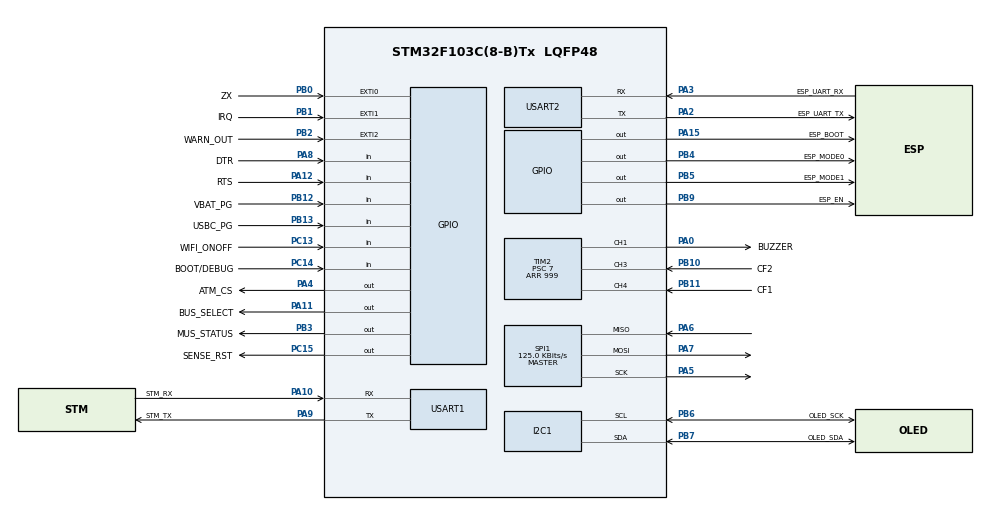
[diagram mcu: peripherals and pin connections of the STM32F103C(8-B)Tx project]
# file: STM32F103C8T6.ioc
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Mcu.Family=STM32F1
Mcu.Name=STM32F103C(8-B)Tx
Mcu.Package=LQFP48
NVIC.EXTI0_IRQn=true\:5\:0\:true\:false\:true\:true\:true\:true
NVIC.EXTI1_IRQn=true\:5\:0\:true\:false\:true\:true\:true\:true
NVIC.EXTI2_IRQn=true\:5\:0\:true\:false\:true\:true\:true\:true
NVIC.PriorityGroup=NVIC_PRIORITYGROUP_4
PA0-WKUP.GPIO_Label=BUZZER
PA0-WKUP.Signal=S_TIM2_CH1_ETR
PA10.GPIO_Label=STM_RX
PA10.GPIO_PuPd=GPIO_PULLUP
PA10.Mode=Asynchronous
PA10.Signal=USART1_RX
PA11.GPIO_Label=BUS_SELECT
PA11.Signal=GPIO_Output
PA12.GPIO_Label=RTS
PA12.GPIO_PuPd=GPIO_PULLUP
PA12.Signal=GPIO_Input
PA13.GPIO_Label=SWD_IO
PA13.Mode=Serial_Wire
PA13.Signal=SYS_JTMS-SWDIO
PA14.GPIO_Label=SWD_CLK
PA14.Mode=Serial_Wire
PA14.Signal=SYS_JTCK-SWCLK
PA15.GPIO_Label=ESP_BOOT
PA15.PinState=GPIO_PIN_SET
PA15.Signal=GPIO_Output
PA2.GPIO_Label=ESP_UART_TX
PA2.Mode=Asynchronous
PA2.Signal=USART2_TX
PA3.GPIO_Label=ESP_UART_RX
PA3.GPIO_PuPd=GPIO_PULLUP
PA3.Mode=Asynchronous
PA3.Signal=USART2_RX
PA4.GPIO_Label=ATM_CS
PA4.PinState=GPIO_PIN_SET
PA4.Signal=GPIO_Output
PA5.Mode=Full_Duplex_Master
PA5.Signal=SPI1_SCK
PA6.Mode=Full_Duplex_Master
PA6.Signal=SPI1_MISO
PA7.Mode=Full_Duplex_Master
PA7.Signal=SPI1_MOSI
PA8.GPIO_Label=DTR
PA8.GPIO_PuPd=GPIO_PULLUP
PA8.Signal=GPIO_Input
PA9.GPIO_Label=STM_TX
PA9.Mode=Asynchronous
PA9.Signal=USART1_TX
PB0.GPIO_Label=ZX
PB0.GPIO_PuPd=GPIO_PULLUP
PB0.Signal=GPXTI0
PB1.GPIO_Label=IRQ
PB1.GPIO_PuPd=GPIO_PULLUP
PB1.Signal=GPXTI1
PB10.GPIO_Label=CF2
PB10.Signal=S_TIM2_CH3
PB11.GPIO_Label=CF1
PB11.Signal=S_TIM2_CH4
PB12.GPIO_Label=VBAT_PG
PB12.GPIO_PuPd=GPIO_PULLUP
PB12.Signal=GPIO_Input
PB13.GPIO_Label=USBC_PG
PB13.GPIO_PuPd=GPIO_PULLUP
PB13.Signal=GPIO_Input
PB2.GPIO_Label=WARN_OUT
PB2.GPIO_PuPd=GPIO_PULLUP
PB2.Signal=GPXTI2
PB3.GPIO_Label=MUS_STATUS
PB3.Signal=GPIO_Output
PB4.GPIO_Label=ESP_MODE0
PB4.Signal=GPIO_Output
PB5.GPIO_Label=ESP_MODE1
PB5.Signal=GPIO_Output
PB6.GPIO_Label=OLED_SCK
PB6.Mode=I2C
PB6.Signal=I2C1_SCL
PB7.GPIO_Label=OLED_SDA
PB7.Mode=I2C
PB7.Signal=I2C1_SDA
PB9.GPIO_Label=ESP_EN
PB9.Signal=GPIO_Output
PC13-TAMPER-RTC.GPIO_Label=WIFI_ONOFF
PC13-TAMPER-RTC.GPIO_PuPd=GPIO_PULLUP
PC13-TAMPER-RTC.Signal=GPIO_Input
PC14-OSC32_IN.GPIO_Label=BOOT/DEBUG
PC14-OSC32_IN.GPIO_PuPd=GPIO_PULLUP
PC14-OSC32_IN.Signal=GPIO_Input
PC15-OSC32_OUT.GPIO_Label=SENSE_RST
PC15-OSC32_OUT.PinState=GPIO_PIN_SET
PC15-OSC32_OUT.Signal=GPIO_Output
PD0-OSC_IN.GPIO_Label=OSC_IN
PD0-OSC_IN.Signal=RCC_OSC_IN
PD1-OSC_OUT.GPIO_Label=OSC_OUT
PD1-OSC_OUT.Signal=RCC_OSC_OUT
ProjectManager.HeapSize=0x200
ProjectManager.StackSize=0x400
ProjectManager.TargetToolchain=STM32CubeIDE
RCC.APB1Freq_Value=8000000
RCC.APB2Freq_Value=8000000
SH.S_TIM2_CH1_ETR.0=TIM2_CH1,PWM Generation1 CH1
SH.S_TIM2_CH3.0=TIM2_CH3,Input_Capture3_from_TI3
SH.S_TIM2_CH4.0=TIM2_CH4,Input_Capture4_from_TI4
SPI1.BaudRatePrescaler=SPI_BAUDRATEPRESCALER_64
SPI1.CLKPhase=SPI_PHASE_2EDGE
SPI1.CLKPolarity=SPI_POLARITY_HIGH
SPI1.CalculateBaudRate=125.0 KBits/s
SPI1.Direction=SPI_DIRECTION_2LINES
SPI1.Mode=SPI_MODE_MASTER
SPI1.VirtualType=VM_MASTER
TIM2.Channel-Input_Capture3_from_TI3=TIM_CHANNEL_3
TIM2.Channel-Input_Capture4_from_TI4=TIM_CHANNEL_4
TIM2.Channel-PWM\ Generation1\ CH1=TIM_CHANNEL_1
TIM2.Period=999
TIM2.Prescaler=7
TIM2.Pulse-PWM\ Generation1\ CH1=500
USART1.VirtualMode=VM_ASYNC
USART2.VirtualMode=VM_ASYNC
VP_TIM2_VS_ClockSourceINT.Mode=Internal
board=custom

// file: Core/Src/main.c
/* USER CODE BEGIN Header */
/**
  ******************************************************************************
  * @file           : main.c
  * @brief          : Main program body
  ******************************************************************************
  * @attention
  *
  * Copyright (c) 2026 STMicroelectronics.
  * All rights reserved.
  *
  * This software is licensed under terms that can be found in the LICENSE file
  * in the root directory of this software component.
  * If no LICENSE file comes with this software, it is provided AS-IS.
  *
  ******************************************************************************
  */
/* USER CODE END Header */
#include "main.h"
#include "i2c.h"
#include "spi.h"
#include "tim.h"
#include "usart.h"
#include "gpio.h"

/* USER CODE BEGIN Includes */
#include "atm90e26.h"
#include "board_control.h"
#include "debug_console.h"
#include "delay_us.h"
#include "display.h"
#include "esp_control.h"
#include "uart_protocol.h"
#include <stdio.h>

/* USER CODE END Includes */

/* USER CODE BEGIN PD */

#define MEASUREMENT_PERIOD_MS 1000U

/* USER CODE END PD */

/* USER CODE BEGIN PV */
static ATM90E26_Dev atm_dev;
static ATM90E26_Meas meas;
static uint32_t lastMeasTick = 0U;
static uint8_t senseResetPulsed = 0U;
static volatile uint32_t zxEdgeCount = 0U;
static volatile uint32_t irqEdgeCount = 0U;
static volatile uint32_t warnEdgeCount = 0U;
static volatile uint32_t cf1PulseCount = 0U;
static volatile uint32_t cf2PulseCount = 0U;
static volatile uint8_t alertPulsePending = 0U;
static uint32_t prevZxEdgeCount = 0U;
static uint32_t prevIrqEdgeCount = 0U;
static uint32_t prevWarnEdgeCount = 0U;
static uint32_t prevCf1PulseCount = 0U;
static uint32_t prevCf2PulseCount = 0U;
static uint32_t buzzerOffTick = 0U;

/* USER CODE END PV */

void SystemClock_Config(void);

/* USER CODE BEGIN 0 */

static void ATM90E26_PrepareHardware(void)
{
  BoardControl_ApplyBringupDefaults();
  BoardControl_ResetSensing();
  senseResetPulsed = 1U;
  HAL_Delay(20U);
}

static void ShowAtmError(const char *title, const char *phase, ATM90E26_Status status)
{
  char err[22];

  snprintf(err, sizeof(err), "ERR:%d SYS:%04X", status, atm_dev.lastSysStatus);
  Display_Error(title, err);
  DebugConsole_LogAtmError(phase, status, atm_dev.lastSysStatus);
}

static HAL_StatusTypeDef AdvancedIo_Init(void)
{
  __HAL_TIM_SET_COMPARE(&htim2, TIM_CHANNEL_1, 0U);

  HAL_NVIC_SetPriority(TIM2_IRQn, 5U, 0U);
  HAL_NVIC_EnableIRQ(TIM2_IRQn);

  if (HAL_TIM_PWM_Start(&htim2, TIM_CHANNEL_1) != HAL_OK)
    return HAL_ERROR;
  if (HAL_TIM_IC_Start_IT(&htim2, TIM_CHANNEL_3) != HAL_OK)
    return HAL_ERROR;
  if (HAL_TIM_IC_Start_IT(&htim2, TIM_CHANNEL_4) != HAL_OK)
    return HAL_ERROR;

  return HAL_OK;
}

static void Buzzer_StartPulse(uint32_t now, uint32_t durationMs)
{
  __HAL_TIM_SET_COMPARE(&htim2, TIM_CHANNEL_1, 500U);
  buzzerOffTick = now + durationMs;
}

static void AdvancedIo_Task(uint32_t now)
{
  if (alertPulsePending != 0U)
  {
    alertPulsePending = 0U;
    Buzzer_StartPulse(now, 120U);
  }

  if ((buzzerOffTick != 0U) && ((int32_t)(now - buzzerOffTick) >= 0))
  {
    __HAL_TIM_SET_COMPARE(&htim2, TIM_CHANNEL_1, 0U);
    buzzerOffTick = 0U;
  }
}

static void AdvancedIo_Log(uint32_t uptimeSec)
{
  uint32_t zx = zxEdgeCount;
  uint32_t irq = irqEdgeCount;
  uint32_t warn = warnEdgeCount;
  uint32_t cf1 = cf1PulseCount;
  uint32_t cf2 = cf2PulseCount;

  DebugConsole_LogAdvancedIo(uptimeSec,
                             zx,
                             irq,
                             warn,
                             cf1,
                             cf2,
                             zx - prevZxEdgeCount,
                             irq - prevIrqEdgeCount,
                             warn - prevWarnEdgeCount,
                             cf1 - prevCf1PulseCount,
                             cf2 - prevCf2PulseCount);

  prevZxEdgeCount = zx;
  prevIrqEdgeCount = irq;
  prevWarnEdgeCount = warn;
  prevCf1PulseCount = cf1;
  prevCf2PulseCount = cf2;
}

/* USER CODE END 0 */

int main(void)
{

  /* MCU Configuration--------------------------------------------------------*/

  /* Reset of all peripherals, Initializes the Flash interface and the Systick. */
  HAL_Init();

  /* Configure the system clock */
  SystemClock_Config();

  /* Initialize all configured peripherals */
  MX_GPIO_Init();
  MX_I2C1_Init();
  MX_SPI1_Init();
  MX_USART1_UART_Init();
  MX_USART2_UART_Init();
  MX_TIM2_Init();
  /* USER CODE BEGIN 2 */
  ATM90E26_Status st = ATM_ERR_COMM_VERIFY;
  BoardControlSnapshot boardSnapshot;
  EspControlSnapshot espSnapshot;
  char calLog[64];

  DWT_Init();
  ATM90E26_PrepareHardware();

  DebugConsole_Init(&huart1);
  DebugConsole_Log("BOOT,stm32-new iter5-advanced-io\r\n");
  boardSnapshot = BoardControl_GetSnapshot();
  DebugConsole_LogBoardState(&boardSnapshot, senseResetPulsed);
  espSnapshot = EspControl_GetSnapshot();
  DebugConsole_LogEspState(&espSnapshot);

  if (Display_Init(&hi2c1) == HAL_OK)
  {
    DebugConsole_Log("OLED,init,ok\r\n");
    Display_Splash();
  }
  else
  {
    DebugConsole_Log("OLED,init,err=i2c_no_ack\r\n");
  }

  if (AdvancedIo_Init() == HAL_OK)
  {
    DebugConsole_Log("IO,init,ok\r\n");
  }
  else
  {
    DebugConsole_Log("IO,init,err=tim2_start\r\n");
  }

  atm_dev.hspi = &hspi1;
  atm_dev.csPort = ATM_CS_GPIO_Port;
  atm_dev.csPin = ATM_CS_Pin;
  atm_dev.cal = ATM90E26_DefaultCal();
  atm_dev.totalImportEnergy = 0U;
  atm_dev.totalExportEnergy = 0U;
  atm_dev.lastSysStatus = 0U;
  atm_dev.initialized = 0U;
  snprintf(calLog, sizeof(calLog), "CAL,ugain=0x%04X,igainL=0x%04X\r\n",
           atm_dev.cal.ugain,
           atm_dev.cal.igainL);
  DebugConsole_Log(calLog);

  for (int retry = 0; retry < 3; retry++)
  {
    DebugConsole_Log("ATM,init,try\r\n");
    st = ATM90E26_Init(&atm_dev);
    if (st == ATM_OK)
      break;
    HAL_Delay(500U);
  }
  UART_Proto_Init(&huart2);
  lastMeasTick = HAL_GetTick();

  if (st != ATM_OK)
  {
    ShowAtmError("ATM90E26 INIT FAIL", "init", st);
  }
  else
  {
    DebugConsole_LogAtmStatus("init_ok", st, atm_dev.lastSysStatus);
  }

  /* USER CODE END 2 */

  /* Infinite loop */
  while (1)
  {

    /* USER CODE BEGIN 3 */
    uint32_t now = HAL_GetTick();

    EspControl_Task();
    AdvancedIo_Task(now);

    if ((now - lastMeasTick) >= MEASUREMENT_PERIOD_MS)
    {
      lastMeasTick += MEASUREMENT_PERIOD_MS;
      espSnapshot = EspControl_GetSnapshot();
      DebugConsole_LogEspState(&espSnapshot);
      AdvancedIo_Log(now / 1000U);

      if (atm_dev.initialized != 0U)
      {
        ATM90E26_Status rs = ATM90E26_ReadAll(&atm_dev, &meas);

        if (rs != ATM_OK)
        {
          ShowAtmError("ATM90E26 READ FAIL", "read", rs);
        }
        else
        {
          BoardPowerSource power = BoardControl_GetPowerSource();

          Display_Update(&meas, atm_dev.totalExportEnergy);
          DebugConsole_LogMeasurement(&meas,
                                      atm_dev.totalImportEnergy,
                                      atm_dev.totalExportEnergy,
                                      power,
                                      now / 1000U);
          UART_SendMeasurements(&meas,
                                atm_dev.totalImportEnergy,
                                atm_dev.totalExportEnergy,
                                now / 1000U);
        }
      }
    }
  }
  /* USER CODE END 3 */
}

void SystemClock_Config(void)
{
  RCC_OscInitTypeDef RCC_OscInitStruct = {0};
  RCC_ClkInitTypeDef RCC_ClkInitStruct = {0};

  /** Initializes the RCC Oscillators according to the specified parameters
  * in the RCC_OscInitTypeDef structure.
  */
  RCC_OscInitStruct.OscillatorType = RCC_OSCILLATORTYPE_HSI;
  RCC_OscInitStruct.HSIState = RCC_HSI_ON;
  RCC_OscInitStruct.HSICalibrationValue = RCC_HSICALIBRATION_DEFAULT;
  RCC_OscInitStruct.PLL.PLLState = RCC_PLL_NONE;
  if (HAL_RCC_OscConfig(&RCC_OscInitStruct) != HAL_OK)
  {
    Error_Handler();
  }

  /** Initializes the CPU, AHB and APB buses clocks
  */
  RCC_ClkInitStruct.ClockType = RCC_CLOCKTYPE_HCLK|RCC_CLOCKTYPE_SYSCLK
                              |RCC_CLOCKTYPE_PCLK1|RCC_CLOCKTYPE_PCLK2;
  RCC_ClkInitStruct.SYSCLKSource = RCC_SYSCLKSOURCE_HSI;
  RCC_ClkInitStruct.AHBCLKDivider = RCC_SYSCLK_DIV1;
  RCC_ClkInitStruct.APB1CLKDivider = RCC_HCLK_DIV1;
  RCC_ClkInitStruct.APB2CLKDivider = RCC_HCLK_DIV1;

  if (HAL_RCC_ClockConfig(&RCC_ClkInitStruct, FLASH_LATENCY_0) != HAL_OK)
  {
    Error_Handler();
  }
}

/* USER CODE BEGIN 4 */

void HAL_GPIO_EXTI_Callback(uint16_t GPIO_Pin)
{
  if (GPIO_Pin == ZX_Pin)
  {
    zxEdgeCount++;
  }
  else if (GPIO_Pin == IRQ_Pin)
  {
    irqEdgeCount++;
    alertPulsePending = 1U;
  }
  else if (GPIO_Pin == WARN_OUT_Pin)
  {
    warnEdgeCount++;
    alertPulsePending = 1U;
  }
}

void HAL_TIM_IC_CaptureCallback(TIM_HandleTypeDef *htim)
{
  if (htim->Instance != TIM2)
    return;

  if (htim->Channel == HAL_TIM_ACTIVE_CHANNEL_3)
  {
    cf2PulseCount++;
  }
  else if (htim->Channel == HAL_TIM_ACTIVE_CHANNEL_4)
  {
    cf1PulseCount++;
  }
}

/* USER CODE END 4 */

void Error_Handler(void)
{
  __disable_irq();
  while (1)
  {
  }
}
